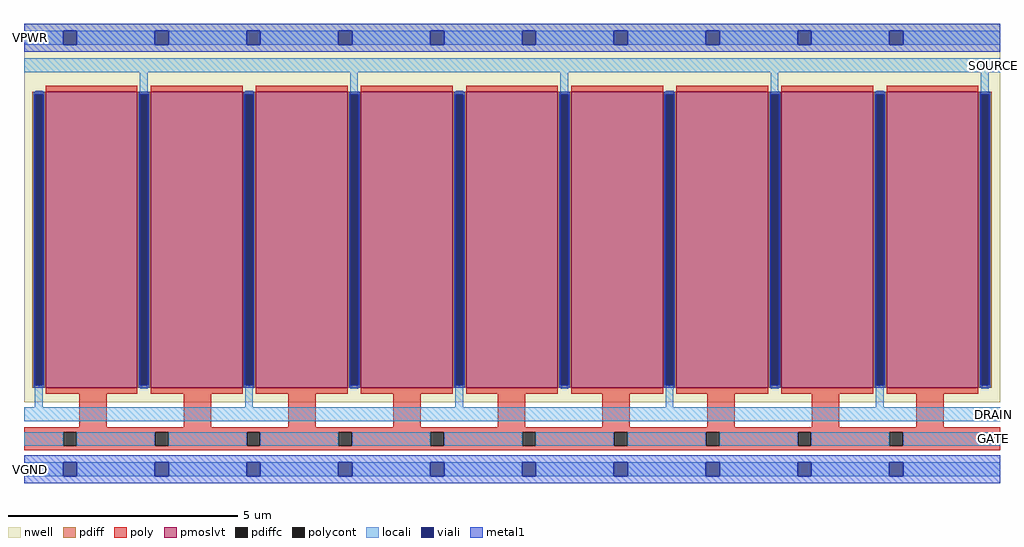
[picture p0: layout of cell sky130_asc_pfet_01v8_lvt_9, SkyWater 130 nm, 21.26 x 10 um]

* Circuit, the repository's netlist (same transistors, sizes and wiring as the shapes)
* NGSPICE file created from sky130_asc_pfet_01v8_lvt_9.ext - technology: sky130A

.subckt sky130_asc_pfet_01v8_lvt_9 GATE SOURCE DRAIN VGND VPWR
X0 SOURCE GATE DRAIN VPWR sky130_fd_pr__pfet_01v8_lvt ad=9.3525e+12p pd=6.74e+07u as=9.3525e+12p ps=6.74e+07u w=6.45e+06u l=2e+06u
X1 DRAIN GATE SOURCE VPWR sky130_fd_pr__pfet_01v8_lvt ad=0p pd=0u as=0p ps=0u w=6.45e+06u l=2e+06u
X2 SOURCE GATE DRAIN VPWR sky130_fd_pr__pfet_01v8_lvt ad=0p pd=0u as=0p ps=0u w=6.45e+06u l=2e+06u
X3 SOURCE GATE DRAIN VPWR sky130_fd_pr__pfet_01v8_lvt ad=0p pd=0u as=0p ps=0u w=6.45e+06u l=2e+06u
X4 SOURCE GATE DRAIN VPWR sky130_fd_pr__pfet_01v8_lvt ad=0p pd=0u as=0p ps=0u w=6.45e+06u l=2e+06u
X5 DRAIN GATE SOURCE VPWR sky130_fd_pr__pfet_01v8_lvt ad=0p pd=0u as=0p ps=0u w=6.45e+06u l=2e+06u
X6 DRAIN GATE SOURCE VPWR sky130_fd_pr__pfet_01v8_lvt ad=0p pd=0u as=0p ps=0u w=6.45e+06u l=2e+06u
X7 SOURCE GATE DRAIN VPWR sky130_fd_pr__pfet_01v8_lvt ad=0p pd=0u as=0p ps=0u w=6.45e+06u l=2e+06u
X8 DRAIN GATE SOURCE VPWR sky130_fd_pr__pfet_01v8_lvt ad=0p pd=0u as=0p ps=0u w=6.45e+06u l=2e+06u
.ends

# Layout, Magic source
magic
tech sky130A
magscale 1 2
<< nwell >>
rect 130 293 4382 1940
<< pmoslvt >>
rect 224 355 624 1645
rect 682 355 1082 1645
rect 1140 355 1540 1645
rect 1598 355 1998 1645
rect 2056 355 2456 1645
rect 2514 355 2914 1645
rect 2972 355 3372 1645
rect 3430 355 3830 1645
rect 3888 355 4288 1645
<< pdiff >>
rect 166 1633 224 1645
rect 166 367 178 1633
rect 212 367 224 1633
rect 166 355 224 367
rect 624 1633 682 1645
rect 624 367 636 1633
rect 670 367 682 1633
rect 624 355 682 367
rect 1082 1633 1140 1645
rect 1082 367 1094 1633
rect 1128 367 1140 1633
rect 1082 355 1140 367
rect 1540 1633 1598 1645
rect 1540 367 1552 1633
rect 1586 367 1598 1633
rect 1540 355 1598 367
rect 1998 1633 2056 1645
rect 1998 367 2010 1633
rect 2044 367 2056 1633
rect 1998 355 2056 367
rect 2456 1633 2514 1645
rect 2456 367 2468 1633
rect 2502 367 2514 1633
rect 2456 355 2514 367
rect 2914 1633 2972 1645
rect 2914 367 2926 1633
rect 2960 367 2972 1633
rect 2914 355 2972 367
rect 3372 1633 3430 1645
rect 3372 367 3384 1633
rect 3418 367 3430 1633
rect 3372 355 3430 367
rect 3830 1633 3888 1645
rect 3830 367 3842 1633
rect 3876 367 3888 1633
rect 3830 355 3888 367
rect 4288 1633 4346 1645
rect 4288 367 4300 1633
rect 4334 367 4346 1633
rect 4288 355 4346 367
<< pdiffc >>
rect 178 367 212 1633
rect 636 367 670 1633
rect 1094 367 1128 1633
rect 1552 367 1586 1633
rect 2010 367 2044 1633
rect 2468 367 2502 1633
rect 2926 367 2960 1633
rect 3384 367 3418 1633
rect 3842 367 3876 1633
rect 4300 367 4334 1633
<< poly >>
rect 224 1645 624 1671
rect 682 1645 1082 1671
rect 1140 1645 1540 1671
rect 1598 1645 1998 1671
rect 2056 1645 2456 1671
rect 2514 1645 2914 1671
rect 2972 1645 3372 1671
rect 3430 1645 3830 1671
rect 3888 1645 4288 1671
rect 224 329 624 355
rect 682 329 1082 355
rect 1140 329 1540 355
rect 1598 329 1998 355
rect 2056 329 2456 355
rect 2514 329 2914 355
rect 2972 329 3372 355
rect 3430 329 3830 355
rect 3888 329 4288 355
rect 370 182 490 329
rect 826 182 946 329
rect 1282 182 1402 329
rect 1738 182 1858 329
rect 2194 182 2314 329
rect 2650 182 2770 329
rect 3106 182 3226 329
rect 3562 182 3682 329
rect 4018 182 4138 329
rect 130 162 4382 182
rect 130 102 300 162
rect 360 102 700 162
rect 760 102 1100 162
rect 1160 102 1500 162
rect 1560 102 1900 162
rect 1960 102 2300 162
rect 2360 102 2700 162
rect 2760 102 3100 162
rect 3160 102 3500 162
rect 3560 102 3900 162
rect 3960 102 4382 162
rect 130 82 4382 102
<< polycont >>
rect 300 102 360 162
rect 700 102 760 162
rect 1100 102 1160 162
rect 1500 102 1560 162
rect 1900 102 1960 162
rect 2300 102 2360 162
rect 2700 102 2760 162
rect 3100 102 3160 162
rect 3500 102 3560 162
rect 3900 102 3960 162
<< locali >>
rect 130 1850 300 1910
rect 360 1850 700 1910
rect 760 1850 1100 1910
rect 1160 1850 1500 1910
rect 1560 1850 1900 1910
rect 1960 1850 2300 1910
rect 2360 1850 2700 1910
rect 2760 1850 3100 1910
rect 3160 1850 3500 1910
rect 3560 1850 3900 1910
rect 3960 1850 4382 1910
rect 130 1730 4382 1790
rect 635 1649 669 1730
rect 1551 1649 1585 1730
rect 2467 1649 2501 1730
rect 3383 1649 3417 1730
rect 4299 1649 4333 1730
rect 178 1633 212 1649
rect 177 367 178 372
rect 635 1633 670 1649
rect 635 1626 636 1633
rect 177 351 212 367
rect 1094 1633 1128 1649
rect 636 351 670 367
rect 1093 367 1094 372
rect 1551 1633 1586 1649
rect 1551 1626 1552 1633
rect 1093 351 1128 367
rect 2010 1633 2044 1649
rect 1552 351 1586 367
rect 2009 367 2010 372
rect 2467 1633 2502 1649
rect 2467 1626 2468 1633
rect 2009 351 2044 367
rect 2926 1633 2960 1649
rect 2468 351 2502 367
rect 2925 367 2926 372
rect 3383 1633 3418 1649
rect 3383 1626 3384 1633
rect 2925 351 2960 367
rect 3842 1633 3876 1649
rect 3384 351 3418 367
rect 3841 367 3842 372
rect 4299 1633 4334 1649
rect 4299 1626 4300 1633
rect 3841 351 3876 367
rect 4300 351 4334 367
rect 177 270 211 351
rect 1093 270 1127 351
rect 2009 270 2043 351
rect 2925 270 2959 351
rect 3841 270 3875 351
rect 130 210 4382 270
rect 130 102 300 162
rect 360 102 700 162
rect 760 102 1100 162
rect 1160 102 1500 162
rect 1560 102 1900 162
rect 1960 102 2300 162
rect 2360 102 2700 162
rect 2760 102 3100 162
rect 3160 102 3500 162
rect 3560 102 3900 162
rect 3960 102 4382 162
rect 130 -30 300 30
rect 360 -30 700 30
rect 760 -30 1100 30
rect 1160 -30 1500 30
rect 1560 -30 1900 30
rect 1960 -30 2300 30
rect 2360 -30 2700 30
rect 2760 -30 3100 30
rect 3160 -30 3500 30
rect 3560 -30 3900 30
rect 3960 -30 4382 30
<< viali >>
rect 300 1850 360 1910
rect 700 1850 760 1910
rect 1100 1850 1160 1910
rect 1500 1850 1560 1910
rect 1900 1850 1960 1910
rect 2300 1850 2360 1910
rect 2700 1850 2760 1910
rect 3100 1850 3160 1910
rect 3500 1850 3560 1910
rect 3900 1850 3960 1910
rect 178 367 212 1633
rect 636 367 670 1633
rect 1094 367 1128 1633
rect 1552 367 1586 1633
rect 2010 367 2044 1633
rect 2468 367 2502 1633
rect 2926 367 2960 1633
rect 3384 367 3418 1633
rect 3842 367 3876 1633
rect 4300 367 4334 1633
rect 300 -30 360 30
rect 700 -30 760 30
rect 1100 -30 1160 30
rect 1500 -30 1560 30
rect 1900 -30 1960 30
rect 2300 -30 2360 30
rect 2700 -30 2760 30
rect 3100 -30 3160 30
rect 3500 -30 3560 30
rect 3900 -30 3960 30
<< metal1 >>
rect 130 1910 4382 1940
rect 130 1850 300 1910
rect 360 1850 700 1910
rect 760 1850 1100 1910
rect 1160 1850 1500 1910
rect 1560 1850 1900 1910
rect 1960 1850 2300 1910
rect 2360 1850 2700 1910
rect 2760 1850 3100 1910
rect 3160 1850 3500 1910
rect 3560 1850 3900 1910
rect 3960 1850 4382 1910
rect 130 1820 4382 1850
rect 172 1633 218 1645
rect 172 367 178 1633
rect 212 367 218 1633
rect 172 355 218 367
rect 630 1633 676 1645
rect 630 367 636 1633
rect 670 367 676 1633
rect 630 355 676 367
rect 1088 1633 1134 1645
rect 1088 367 1094 1633
rect 1128 367 1134 1633
rect 1088 355 1134 367
rect 1546 1633 1592 1645
rect 1546 367 1552 1633
rect 1586 367 1592 1633
rect 1546 355 1592 367
rect 2004 1633 2050 1645
rect 2004 367 2010 1633
rect 2044 367 2050 1633
rect 2004 355 2050 367
rect 2462 1633 2508 1645
rect 2462 367 2468 1633
rect 2502 367 2508 1633
rect 2462 355 2508 367
rect 2920 1633 2966 1645
rect 2920 367 2926 1633
rect 2960 367 2966 1633
rect 2920 355 2966 367
rect 3378 1633 3424 1645
rect 3378 367 3384 1633
rect 3418 367 3424 1633
rect 3378 355 3424 367
rect 3836 1633 3882 1645
rect 3836 367 3842 1633
rect 3876 367 3882 1633
rect 3836 355 3882 367
rect 4294 1633 4340 1645
rect 4294 367 4300 1633
rect 4334 367 4340 1633
rect 4294 355 4340 367
rect 130 30 4382 60
rect 130 -30 300 30
rect 360 -30 700 30
rect 760 -30 1100 30
rect 1160 -30 1500 30
rect 1560 -30 1900 30
rect 1960 -30 2300 30
rect 2360 -30 2700 30
rect 2760 -30 3100 30
rect 3160 -30 3500 30
rect 3560 -30 3900 30
rect 3960 -30 4382 30
rect 130 -60 4382 -30
<< labels >>
flabel metal1 130 1850 190 1910 1 FreeSans 480 0 0 0 VPWR
port 4 n power bidirectional
flabel space 120 1850 180 1910 1 FreeSans 480 0 0 0 VPB
flabel metal1 130 -30 190 30 1 FreeSans 480 0 0 0 VGND
port 5 n ground bidirectional
flabel locali 4322 1730 4382 1790 1 FreeSans 480 0 0 0 SOURCE
port 2 n signal bidirectional
flabel locali 4322 210 4382 270 1 FreeSans 480 0 0 0 DRAIN
port 3 n signal bidirectional
flabel locali 4322 102 4382 162 1 FreeSans 480 0 0 0 GATE
port 1 n signal bidirectional
<< properties >>
string FIXED_BBOX 0 0 4770 1880
string LEFclass CORE
string LEFsite unitasc
<< end >>
